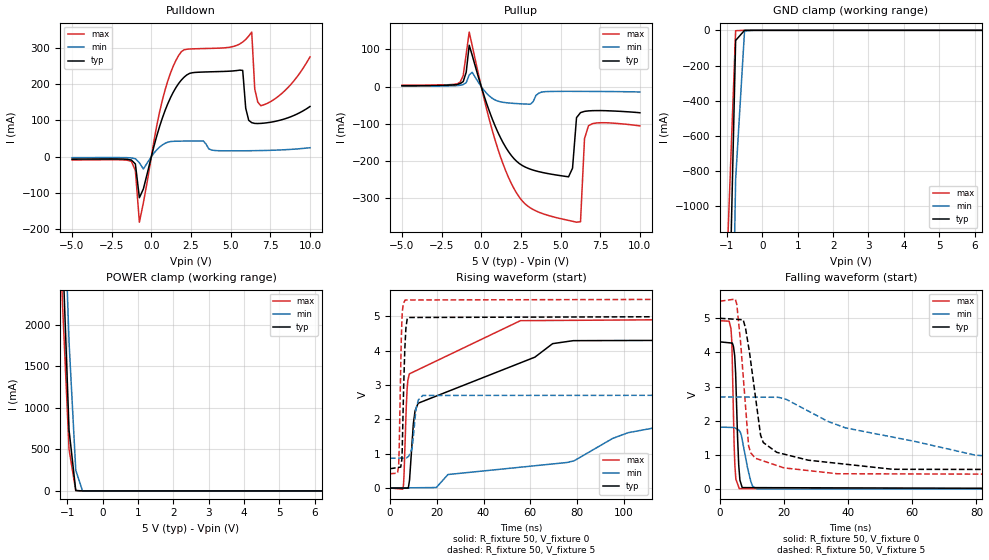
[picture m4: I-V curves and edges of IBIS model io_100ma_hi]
| [Disclaimer] Property of Microchip technology Incorporated.
| Unauthorized reproduction and/or distribution is strictly
| restricted.  All rights reserved.
| The model provided is not warranted as fully representing
| all of the operating characteristics and specifications
| of all the semiconductor products related to the model.
| Microchip does not assume any liability for the proper
| functioning of these IBIS models in your design or for
| any resulting application.
| Microchip does not assume any liability for infringement
| of patents, copyrights or intellectual property rights
| resulting from your use of these IBIS models.
| Microchip reserves the right to make changes without notice
| to these IBIS models to improve reliability, function, or
| design.
| Please be aware that your receipt and use of the IBIS
| information provided shall serve as acceptance of these
| terms and conditions.  If you do not accept these terms,
| you should return or destroy the IBIS model and any other
| accompanying information immediately.
| From pic16f18324_tssop14.ibs, pic16f18324, MICROCHIP TECHNOLOGY Inc.
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[Model] io_100ma_hi
Model_type I/O
Vinl  =  0.8
Vinh  =  2
| Capacitance   typ   min   max
C_comp   6.146428822233628e-12   5.977276312180674e-12   6.83045053567244e-12
[Model Spec]
| Subparameter   typ   min   max
Vinl   1.5   0.81   1.65
Vinh   3.6   1.89   3.85
Vmeas   2.5   1.35   2.75
| Variables   typ   min   max
[GND Clamp Reference]   0   0   0
[POWER Clamp Reference]   5   2.7   5.5
[Pulldown Reference]   0   0   0
[Pullup Reference]   5   2.7   5.5
[Temperature Range]   25   125   -40
[Voltage Range]   5   2.7   5.5
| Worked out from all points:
|   slope of the pulldown table from 0 to 0.75 V, typ, clamps not added: 6.64 ohm
|   slope of the pullup table from 0 to 0.75 V, typ, clamps not added: 8.1 ohm
|   POWER clamp passes 1 mA (typ) near -0.60 V on its own axis
|   falling waveform, R_fixture 50, V_fixture 0: 20-80 % time 928ps typ, 2.35ns min, 741ps max; typ from 4.31 V to 0 V
|   falling waveform, R_fixture 50, V_fixture 5: 20-80 % time 4.16ns typ, 41.9ns min, 2.56ns max; typ from 5 V to 0.561 V
|   rising waveform, R_fixture 50, V_fixture 0: 20-80 % time 39.6ns typ, 71.2ns min, 21ns max; typ from 0 V to 4.31 V
|   rising waveform, R_fixture 50, V_fixture 5: 20-80 % time 1.05ns typ, 1.66ns min, 905ps max; typ from 0.561 V to 5 V
[GND Clamp]
| Voltage   I(typ)   I(min)   I(max)
-5V       -56.79A    -57.96A    -55.96A
-1.007V   -2.262A    -3.724A    -1.349A
-755.2mV  -57.39mA   -845.6mA   -2.109mA
-503.4mV  -22.35uA   -3.596mA   -15.04uA
-251.7mV  -26.43nA   -2.572uA   -6.502nA
10V       0A         0A         0A
[POWER Clamp]
| Voltage   I(typ)   I(min)   I(max)
-5V       57.91A     58.77A     57.01A
-1.328V   5.546A     6.698A     4.833A
-1.138V   2.97A      4.139A     2.294A
-948.3mV  729.7mA    1.793A     499.1mA
-758.6mV  5.661mA    248.7mA    1.904mA
-569mV    17.98uA    1.946mA    44.06uA
10V       0A         0A         0A
[Pulldown]
| Voltage   I(typ)   I(min)   I(max)
-5V       -6.903mA   -2.852mA   -9.241mA
-1.259V   -9.488mA   -3.474mA   -13.2mA
-1.007V   -20.23mA   -5.773mA   -38.23mA
-755.2mV  -113.1mA   -16.93mA   -180.4mA
689.7mV   105.7mA    32.11mA    154.7mA
1.897V    211mA      42.67mA    289mA
5.759V    237.2mA    16.1mA     315.3mA
5.948V    133.3mA    16.16mA    322.4mA
6.328V    93.5mA     16.33mA    342.7mA
6.517V    91.4mA     16.44mA    186.3mA
6.897V    91.46mA    16.72mA    140.1mA
10V       138mA      24.54mA    274.5mA
[Pullup]
| Voltage   I(typ)   I(min)   I(max)
-5V       2.605mA    1.277mA    3.796mA
-1.328V   8.08mA     3.649mA    12.29mA
-758.6mV  111.1mA    31.4mA     146.4mA
862.1mV   -104.4mA   -35.66mA   -141.9mA
2.414V    -206.9mA   -45.93mA   -297.6mA
5.503V    -242.1mA   -12.64mA   -359.1mA
5.755V    -219.1mA   -12.66mA   -361.4mA
6.007V    -83.24mA   -12.7mA    -363.9mA
6.259V    -69.78mA   -12.74mA   -362.7mA
6.51V     -66.42mA   -12.79mA   -139.4mA
6.762V    -65.11mA   -12.84mA   -105mA
10V       -70.1mA    -14.31mA   -105.5mA
[Ramp]
dV/dt_r   2.58613/39.5629n  1.08903/71.1918n  2.95685/21.0183n
dV/dt_f   2.66323/4.16384n  1.10043/41.8755n  3.05049/2.55697n
R_load = 50
[Falling Waveform]
R_fixture = 50
V_fixture = 0
V_fixture_min = 0
V_fixture_max = 0
| Time   V(typ)   V(min)   V(max)
0s        4.31V      1.815V     4.928V
3.434ns   4.278V     1.807V     4.706V
3.786ns   4.275V     1.806V     4.062V
4.433ns   4.031V     1.805V     1.303V
4.665ns   3.814V     1.794V     701.5mV
6.047ns   492.5mV    1.711V     14.56mV
6.959ns   45.65mV    1.444V     14.49mV
9.688ns   44.96mV    210.3mV    14.27mV
11.47ns   44.51mV    9.198mV    14.13mV
187.5ns   29.58nV    313.4nV    15.73nV
[Falling Waveform]
R_fixture = 50
V_fixture = 5
V_fixture_min = 2.7
V_fixture_max = 5.5
| Time   V(typ)   V(min)   V(max)
0s        5V         2.7V       5.5V
5.271ns   4.969V     2.697V     5.406V
7.267ns   4.957V     2.695V     3.307V
8.941ns   4.169V     2.694V     1.273V
9.564ns   3.768V     2.694V     1.069V
12.69ns   1.581V     2.692V     853.1mV
19.93ns   1.026V     2.647V     623.3mV
39.23ns   729.8mV    1.791V     450.4mV
79.55ns   577.9mV    997.1mV    441mV
187.5ns   561.3mV    866mV      415.8mV
[Rising Waveform]
R_fixture = 50
V_fixture = 0
V_fixture_min = 0
V_fixture_max = 0
| Time   V(typ)   V(min)   V(max)
0s        -50.06pV   3.555nV    -64.46pV
5.739ns   -2.923mV   3.948mV    71.1mV
7.346ns   -3.741mV   5.053mV    2.911V
8.244ns   185.9mV    5.671mV    3.322V
9.99ns    1.878V     6.872mV    3.378V
12.03ns   2.468V     8.275mV    3.445V
55.8ns    3.643V     605.6mV    4.871V
69.57ns   4.202V     700.2mV    4.877V
112.2ns   4.296V     1.739V     4.896V
187.5ns   4.31V      1.815V     4.928V
[Rising Waveform]
R_fixture = 50
V_fixture = 5
V_fixture_min = 2.7
V_fixture_max = 5.5
| Time   V(typ)   V(min)   V(max)
0s        561.3mV    865.9mV    415.8mV
3.686ns   599.8mV    869.8mV    646.2mV
5.082ns   865mV      871.3mV    4.887V
5.832ns   2.942V     872.1mV    5.389V
6.486ns   4.253V     872.8mV    5.473V
7.772ns   4.964V     912.6mV    5.473V
9.356ns   4.964V     1.131V     5.473V
11.27ns   4.964V     2.345V     5.474V
14ns      4.965V     2.695V     5.474V
187.5ns   5V         2.7V       5.5V
